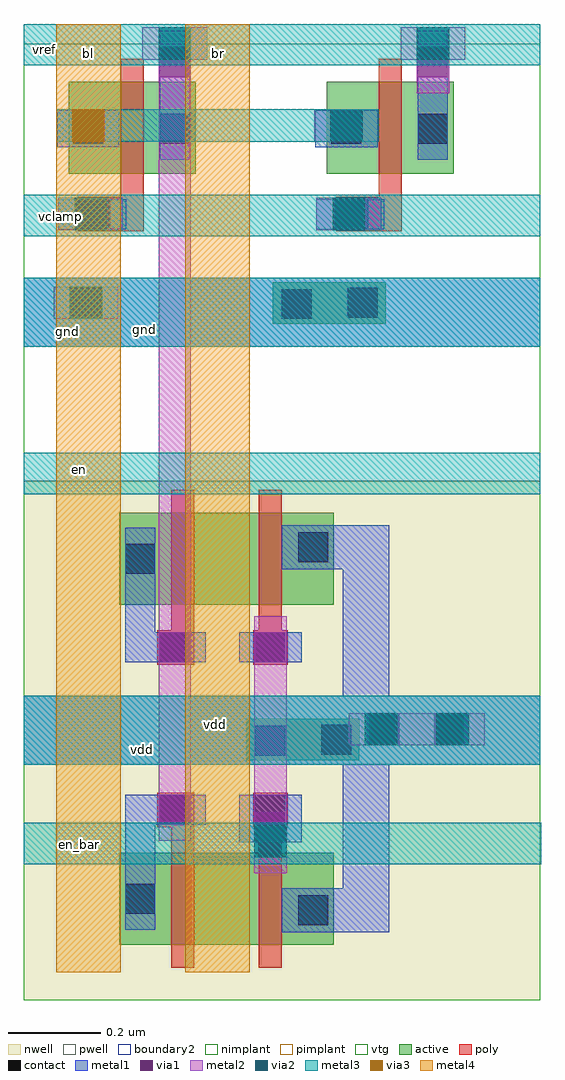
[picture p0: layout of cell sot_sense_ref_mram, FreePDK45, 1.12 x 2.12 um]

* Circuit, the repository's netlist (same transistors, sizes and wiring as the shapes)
************************************************************************
* auCdl Netlist:
* 
* Library Name:  openram_sot
* Top Cell Name: sot_sense_ref_mram
* View Name:     schematic
* Netlisted on:  Apr 16 14:49:28 2021
************************************************************************

*.EQUATION
*.SCALE METER
*.MEGA
.PARAM



************************************************************************
* Library Name: openram_sot
* Cell Name:    sot_sense_ref_mram
* View Name:    schematic
************************************************************************

.SUBCKT sot_sense_ref_mram bl en_bar gnd vclamp vdd vref
MM5 vref vclamp bl gnd NMOS_VTG W=200n L=50n m=1
MM4 vref vclamp bl gnd NMOS_VTG W=200n L=50n m=1
MM2 net20 en_bar vdd vdd PMOS_VTG W=200n L=50n m=1
MM3 vref vref net20 vdd PMOS_VTG W=200n L=50n m=1
MM1 vref vref net19 vdd PMOS_VTG W=200n L=50n m=1
MM0 net19 en_bar vdd vdd PMOS_VTG W=200n L=50n m=1
.ENDS

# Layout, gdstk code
from math import pi, radians
import gdstk
lib = gdstk.Library(unit=1e-6, precision=5e-10)
def R(c, l, rs):  # rectangles x0, y0, x1, y1
    for r in rs: c.add(gdstk.rectangle(r[:2], r[2:], *l))
active = (1, 0)
pwell = (2, 0)
nwell = (3, 0)
nimplant = (4, 0)
pimplant = (5, 0)
vtg = (6, 0)
poly = (9, 0)
contact = (10, 0)
metal1 = (11, 0)
via1 = (12, 0)
metal2 = (13, 0)
via2 = (14, 0)
metal3 = (15, 0)
via3 = (16, 0)
metal4 = (17, 0)
boundary2 = (239, 0)

m4_m3_cdns_618598962140 = lib.new_cell('M4_M3_CDNS_618598962140')
R(m4_m3_cdns_618598962140, metal3, [(-0.035,-0.07,0.035,0.07)])
R(m4_m3_cdns_618598962140, via3, [(-0.035,-0.035,0.035,0.035)])
R(m4_m3_cdns_618598962140, metal4, [(-0.07,-0.07,0.07,0.07)])

m3_m2_cdns_618598962141 = lib.new_cell('M3_M2_CDNS_618598962141')
R(m3_m2_cdns_618598962141, metal2, [(-0.035,-0.07,0.035,0.07)])
R(m3_m2_cdns_618598962141, via2, [(-0.035,-0.035,0.035,0.035)])
R(m3_m2_cdns_618598962141, metal3, [(-0.035,-0.07,0.035,0.07)])

m2_m1_cdns_618598962142 = lib.new_cell('M2_M1_CDNS_618598962142')
R(m2_m1_cdns_618598962142, metal1, [(-0.0325,-0.0675,0.0325,0.0675)])
R(m2_m1_cdns_618598962142, via1, [(-0.0325,-0.0325,0.0325,0.0325)])
R(m2_m1_cdns_618598962142, metal2, [(-0.035,-0.0675,0.035,0.0675)])

m3_m2_cdns_618598962143 = lib.new_cell('M3_M2_CDNS_618598962143')
R(m3_m2_cdns_618598962143, metal2, [(-0.035,-0.07,0.035,0.07)])
R(m3_m2_cdns_618598962143, via2, [(-0.035,-0.035,0.035,0.035)])
R(m3_m2_cdns_618598962143, metal3, [(-0.07,-0.035,0.07,0.035)])

m2_m1_cdns_618598962144 = lib.new_cell('M2_M1_CDNS_618598962144')
R(m2_m1_cdns_618598962144, metal1, [(-0.0325,-0.0675,0.0325,0.0675)])
R(m2_m1_cdns_618598962144, via1, [(-0.0325,-0.0325,0.0325,0.0325)])
R(m2_m1_cdns_618598962144, metal2, [(-0.0675,-0.035,0.0675,0.035)])

m3_m2_cdns_618598962145 = lib.new_cell('M3_M2_CDNS_618598962145')
R(m3_m2_cdns_618598962145, metal2, [(-0.035,-0.1475,0.035,0.1475)])
R(m3_m2_cdns_618598962145, via2, [(-0.035,-0.1125,0.035,-0.0425), (-0.035,0.0425,0.035,0.1125)])
R(m3_m2_cdns_618598962145, metal3, [(-0.035,-0.1475,0.035,0.1475)])

m2_m1_cdns_618598962146 = lib.new_cell('M2_M1_CDNS_618598962146')
R(m2_m1_cdns_618598962146, metal1, [(-0.0325,-0.1375,0.0325,0.1375)])
R(m2_m1_cdns_618598962146, via1, [(-0.0325,-0.1025,0.0325,-0.0375), (-0.0325,0.0375,0.0325,0.1025)])
R(m2_m1_cdns_618598962146, metal2, [(-0.035,-0.1375,0.035,0.1375)])

sot_sense_ref_mram = lib.new_cell('sot_sense_ref_mram')
R(sot_sense_ref_mram, active, [(0.2075,0.12,0.6725,0.32), (0.4825,0.52,0.7275,0.61), (0.2075,0.8575,0.6725,1.0575), (0.54,1.4675,0.785,1.5575), (0.0975,1.7925,0.3725,1.9925), (0.6575,1.7925,0.9325,1.9925)])
R(sot_sense_ref_mram, pwell, [(0,1.125,1.12,2.075)])
R(sot_sense_ref_mram, nwell, [(0,0,1.12,1.125)])
R(sot_sense_ref_mram, nimplant, [(0.4825,0.52,0.7275,0.61), (0.0975,1.7925,0.3725,1.9925), (0.6575,1.7925,0.9325,1.9925)])
R(sot_sense_ref_mram, pimplant, [(0.2075,0.12,0.6725,0.32), (0.2075,0.8575,0.6725,1.0575), (0.54,1.4675,0.785,1.5575)])
R(sot_sense_ref_mram, vtg, [(0,0,1.12,2.075)])
R(sot_sense_ref_mram, poly, [(0.32,0.07,0.37,0.45), (0.51,0.07,0.56,0.4375), (0.29,0.375,0.365,0.45), (0.4975,0.375,0.5725,0.45), (0.29,0.7275,0.365,0.8025), (0.32,0.7275,0.37,1.1075), (0.4975,0.7275,0.5725,0.8025), (0.51,0.74,0.56,1.1075), (0.1175,1.6675,0.23,1.7425), (0.21,1.6675,0.26,2.0425), (0.6775,1.6675,0.79,1.7425), (0.77,1.6675,0.82,2.0425)])
R(sot_sense_ref_mram, contact, [(0.595,0.1625,0.66,0.2275), (0.22,0.1875,0.285,0.2525), (0.295,0.38,0.36,0.445), (0.5025,0.38,0.5675,0.445), (0.5025,0.53,0.5675,0.595), (0.645,0.5325,0.71,0.5975), (0.295,0.7325,0.36,0.7975), (0.295,0.7325,0.36,0.7975), (0.5025,0.7325,0.5675,0.7975), (0.22,0.925,0.285,0.99), (0.595,0.95,0.66,1.015), (0.56,1.4775,0.625,1.5425), (0.7025,1.48,0.7675,1.545), (0.1225,1.6725,0.1875,1.7375), (0.6825,1.6725,0.7475,1.7375), (0.1075,1.8575,0.1725,1.9225), (0.295,1.8575,0.36,1.9225), (0.6675,1.8575,0.7325,1.9225), (0.855,1.8575,0.92,1.9225)])
R(sot_sense_ref_mram, metal1, [(0.56,0.1475,0.7675,0.2425), (0.6925,0.1475,0.7925,0.625), (0.22,0.1525,0.285,0.445), (0.4675,0.38,0.6025,0.445), (0,0.51,1.12,0.66), (0.6925,0.5525,0.7925,1.03), (0.22,0.7325,0.285,1.025), (0.4675,0.7325,0.6025,0.7975), (0.56,0.935,0.7675,1.03), (0,1.4175,1.12,1.5675), (0.1025,1.6725,0.2225,1.7375), (0.6625,1.6725,0.7825,1.7375), (0.295,1.8225,0.36,2.01), (0.855,1.8225,0.92,2.01), (0.0725,1.85,0.2075,1.93), (0.6325,1.85,0.7675,1.93)])
R(sot_sense_ref_mram, metal2, [(0.5,0.275,0.57,0.79), (0.2925,0.3525,0.3625,2.0725)])
R(sot_sense_ref_mram, metal3, [(0,0.295,1.1225,0.385), (0,0.51,1.12,0.66), (0,1.0975,1.12,1.1875), (0,1.4175,1.12,1.5675), (0,1.6575,1.12,1.7475), (0.07,1.8625,0.77,1.9325), (0,2.0275,1.12,2.1175)])
R(sot_sense_ref_mram, metal4, [(0.07,0.06,0.21,2.1175), (0.35,0.06,0.49,2.1175)])
R(sot_sense_ref_mram, boundary2, [(0,0,1.12,2.1175)])
sot_sense_ref_mram.add(gdstk.Reference(m4_m3_cdns_618598962140, (0.14,1.8975), rotation=3*pi/2, x_reflection=True))
sot_sense_ref_mram.add(gdstk.Reference(m3_m2_cdns_618598962141, (0.135,1.5125), rotation=3*pi/2, x_reflection=True))
sot_sense_ref_mram.add(gdstk.Reference(m3_m2_cdns_618598962141, (0.8875,2.075), rotation=3*pi/2, x_reflection=True))
sot_sense_ref_mram.add(gdstk.Reference(m3_m2_cdns_618598962141, (0.705,1.705), rotation=pi/2))
sot_sense_ref_mram.add(gdstk.Reference(m3_m2_cdns_618598962141, (0.3275,2.075), rotation=3*pi/2, x_reflection=True))
sot_sense_ref_mram.add(gdstk.Reference(m3_m2_cdns_618598962141, (0.7,1.8975), rotation=3*pi/2, x_reflection=True))
sot_sense_ref_mram.add(gdstk.Reference(m3_m2_cdns_618598962141, (0.145,1.705), rotation=pi/2))
sot_sense_ref_mram.add(gdstk.Reference(m3_m2_cdns_618598962141, (0.14,1.8975), rotation=3*pi/2, x_reflection=True))
sot_sense_ref_mram.add(gdstk.Reference(m2_m1_cdns_618598962142, (0.135,1.5125), rotation=3*pi/2, x_reflection=True))
sot_sense_ref_mram.add(gdstk.Reference(m2_m1_cdns_618598962142, (0.8875,2.035), x_reflection=True))
sot_sense_ref_mram.add(gdstk.Reference(m2_m1_cdns_618598962142, (0.7025,1.705), rotation=pi/2))
sot_sense_ref_mram.add(gdstk.Reference(m2_m1_cdns_618598962142, (0.7,1.8975), rotation=3*pi/2, x_reflection=True))
sot_sense_ref_mram.add(gdstk.Reference(m2_m1_cdns_618598962142, (0.3275,2.035), x_reflection=True))
sot_sense_ref_mram.add(gdstk.Reference(m2_m1_cdns_618598962142, (0.1425,1.705), rotation=pi/2))
sot_sense_ref_mram.add(gdstk.Reference(m2_m1_cdns_618598962142, (0.14,1.8975), rotation=3*pi/2, x_reflection=True))
sot_sense_ref_mram.add(gdstk.Reference(m3_m2_cdns_618598962143, (0.535,0.345), x_reflection=True))
sot_sense_ref_mram.add(gdstk.Reference(m2_m1_cdns_618598962144, (0.3275,0.765), rotation=3*pi/2, x_reflection=True))
sot_sense_ref_mram.add(gdstk.Reference(m2_m1_cdns_618598962144, (0.535,0.765), rotation=3*pi/2, x_reflection=True))
sot_sense_ref_mram.add(gdstk.Reference(m2_m1_cdns_618598962144, (0.535,0.375), rotation=3*pi/2, x_reflection=True))
sot_sense_ref_mram.add(gdstk.Reference(m2_m1_cdns_618598962144, (0.3275,0.4125), rotation=3*pi/2, x_reflection=True))
sot_sense_ref_mram.add(gdstk.Reference(m3_m2_cdns_618598962145, (0.8525,0.5875), rotation=3*pi/2, x_reflection=True))
sot_sense_ref_mram.add(gdstk.Reference(m2_m1_cdns_618598962146, (0.8525,0.5875), rotation=3*pi/2, x_reflection=True))
sot_sense_ref_mram.add(gdstk.Label('vdd', (0.2575,0.5425), layer=11, texttype=0))
sot_sense_ref_mram.add(gdstk.Label('gnd', (0.095,1.45), layer=11, texttype=0))
sot_sense_ref_mram.add(gdstk.Label('en_bar', (0.12,0.3375), layer=15, texttype=0))
sot_sense_ref_mram.add(gdstk.Label('vdd', (0.415,0.5975), layer=15, texttype=0))
sot_sense_ref_mram.add(gdstk.Label('gnd', (0.2625,1.455), layer=15, texttype=0))
sot_sense_ref_mram.add(gdstk.Label('en', (0.12,1.15), layer=15, texttype=0))
sot_sense_ref_mram.add(gdstk.Label('vclamp', (0.08,1.7), layer=15, texttype=0))
sot_sense_ref_mram.add(gdstk.Label('vref', (0.045,2.0625), layer=15, texttype=0))
sot_sense_ref_mram.add(gdstk.Label('br', (0.4225,2.0525), layer=17, texttype=0))
sot_sense_ref_mram.add(gdstk.Label('bl', (0.14,2.0525), layer=17, texttype=0))

lib.write_gds('sot_sense_ref_mram.gds')
